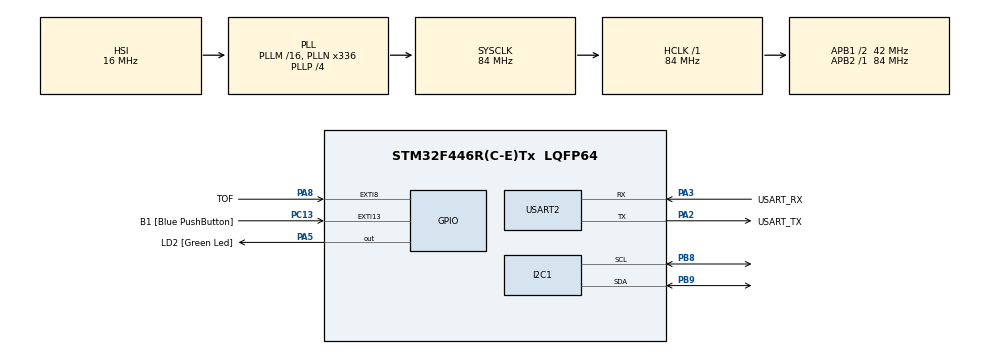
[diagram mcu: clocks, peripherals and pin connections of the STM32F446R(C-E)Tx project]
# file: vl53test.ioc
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I2C1.I2C_Mode=I2C_Fast
Mcu.Family=STM32F4
Mcu.Name=STM32F446R(C-E)Tx
Mcu.Package=LQFP64
NVIC.EXTI9_5_IRQn=true\:0\:0\:false\:false\:true\:true\:true\:true
NVIC.PriorityGroup=NVIC_PRIORITYGROUP_0
PA13.GPIO_Label=TMS
PA13.Mode=Serial_Wire
PA13.Signal=SYS_JTMS-SWDIO
PA14.GPIO_Label=TCK
PA14.Mode=Serial_Wire
PA14.Signal=SYS_JTCK-SWCLK
PA2.GPIO_Label=USART_TX
PA2.Mode=Asynchronous
PA2.Signal=USART2_TX
PA3.GPIO_Label=USART_RX
PA3.Mode=Asynchronous
PA3.Signal=USART2_RX
PA5.GPIO_Label=LD2 [Green Led]
PA5.Signal=GPIO_Output
PA8.GPIO_Label=TOF
PA8.GPIO_ModeDefaultEXTI=GPIO_MODE_IT_FALLING
PA8.Signal=GPXTI8
PB3.GPIO_Label=SWO
PB3.Signal=SYS_JTDO-SWO
PB8.Mode=I2C
PB8.Signal=I2C1_SCL
PB9.Mode=I2C
PB9.Signal=I2C1_SDA
PC13.GPIO_Label=B1 [Blue PushButton]
PC13.GPIO_ModeDefaultEXTI=GPIO_MODE_IT_FALLING
PC13.Signal=GPXTI13
PC14-OSC32_IN.Mode=LSE-External-Oscillator
PC14-OSC32_IN.Signal=RCC_OSC32_IN
PC15-OSC32_OUT.Mode=LSE-External-Oscillator
PC15-OSC32_OUT.Signal=RCC_OSC32_OUT
PH0-OSC_IN.Mode=HSE-External-Oscillator
PH0-OSC_IN.Signal=RCC_OSC_IN
PH1-OSC_OUT.Mode=HSE-External-Oscillator
PH1-OSC_OUT.Signal=RCC_OSC_OUT
ProjectManager.HeapSize=0x200
ProjectManager.StackSize=0x400
ProjectManager.TargetToolchain=STM32CubeIDE
RCC.48MHZClocksFreq_Value=84000000
RCC.AHBFreq_Value=84000000
RCC.APB1CLKDivider=RCC_HCLK_DIV2
RCC.APB1Freq_Value=42000000
RCC.APB1TimFreq_Value=84000000
RCC.APB2Freq_Value=84000000
RCC.APB2TimFreq_Value=84000000
RCC.CortexFreq_Value=84000000
RCC.FLatency-AdvancedSettings=FLASH_LATENCY_2
RCC.HCLKFreq_Value=84000000
RCC.HSE_VALUE=8000000
RCC.HSI_VALUE=16000000
RCC.PLLN=336
RCC.PLLP=RCC_PLLP_DIV4
RCC.SYSCLKFreq_VALUE=84000000
RCC.SYSCLKSource=RCC_SYSCLKSOURCE_PLLCLK
RCC.USBFreq_Value=168000000
RCC.VCOOutputFreq_Value=336000000
USART2.VirtualMode=VM_ASYNC
board=NUCLEO-F446RE

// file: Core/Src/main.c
/* USER CODE BEGIN Header */
/**
  ******************************************************************************
  * @file           : main.c
  * @brief          : Main program body
  ******************************************************************************
  * @attention
  *
  * Copyright (c) 2025 STMicroelectronics.
  * All rights reserved.
  *
  * This software is licensed under terms that can be found in the LICENSE file
  * in the root directory of this software component.
  * If no LICENSE file comes with this software, it is provided AS-IS.
  *
  ******************************************************************************
  */
/* USER CODE END Header */
#include "main.h"

/* USER CODE BEGIN Includes */
#include "vl53l0x_api.h"
#include<stdio.h>
/* USER CODE END Includes */

I2C_HandleTypeDef hi2c1;

UART_HandleTypeDef huart2;

/* USER CODE BEGIN PV */
uint8_t Message[64];
uint8_t MessageLen;
VL53L0X_RangingMeasurementData_t RangingData;
VL53L0X_Dev_t  vl53l0x_c; // center module
VL53L0X_DEV    Dev = &vl53l0x_c;
uint8_t TofDataRead = 0;
/* USER CODE END PV */

void SystemClock_Config(void);
static void MX_GPIO_Init(void);
static void MX_USART2_UART_Init(void);
static void MX_I2C1_Init(void);

/* USER CODE BEGIN 0 */
int __io_putchar(int ch)

	{

	    HAL_UART_Transmit(&huart2, (uint8_t*)&ch, 1, HAL_MAX_DELAY);

	    return 1;

	}
void HAL_GPIO_EXTI_Callback(uint16_t GPIO_Pin)
     {
     	if(GPIO_Pin == TOF_Pin)
     	{
     		VL53L0X_GetRangingMeasurementData(Dev, &RangingData);
     		VL53L0X_ClearInterruptMask(Dev, VL53L0X_REG_SYSTEM_INTERRUPT_GPIO_NEW_SAMPLE_READY);
     		TofDataRead = 1;
     	}
     }
/* USER CODE END 0 */

int main(void)
{

  /* USER CODE BEGIN 1 */
    uint32_t refSpadCount;
    uint8_t isApertureSpads;
    uint8_t VhvSettings;
    uint8_t PhaseCal;

  /* USER CODE END 1 */

  /* MCU Configuration--------------------------------------------------------*/

  /* Reset of all peripherals, Initializes the Flash interface and the Systick. */
  HAL_Init();

  /* Configure the system clock */
  SystemClock_Config();

  /* Initialize all configured peripherals */
  MX_GPIO_Init();
  MX_USART2_UART_Init();
  MX_I2C1_Init();
  /* USER CODE BEGIN 2 */
  MessageLen = sprintf((char*)Message, "msalamon.pl VL53L0X test\n\r");
  HAL_UART_Transmit(&huart2, Message, MessageLen, 100);

  Dev->I2cHandle = &hi2c1;
  Dev->I2cDevAddr = 0x52;

  //HAL_GPIO_WritePin(TOF_XSHUT_GPIO_Port, TOF_XSHUT_Pin, GPIO_PIN_RESET); // Disable XSHUT
  HAL_Delay(20);
 // HAL_GPIO_WritePin(TOF_XSHUT_GPIO_Port, TOF_XSHUT_Pin, GPIO_PIN_SET); // Enable XSHUT
  HAL_Delay(20);

  //
  // VL53L0X init for Single Measurement
  //
  	HAL_NVIC_DisableIRQ(EXTI9_5_IRQn);

    VL53L0X_WaitDeviceBooted( Dev );
    VL53L0X_DataInit( Dev );
    VL53L0X_StaticInit( Dev );
    VL53L0X_PerformRefCalibration(Dev, &VhvSettings, &PhaseCal);
    VL53L0X_PerformRefSpadManagement(Dev, &refSpadCount, &isApertureSpads);
    VL53L0X_SetDeviceMode(Dev, VL53L0X_DEVICEMODE_CONTINUOUS_RANGING);
    VL53L0X_StartMeasurement(Dev);

    HAL_NVIC_EnableIRQ(EXTI9_5_IRQn);
  /* USER CODE END 2 */

  /* Infinite loop */
  /* USER CODE BEGIN WHILE */

    HAL_NVIC_EnableIRQ(EXTI9_5_IRQn);
  while (1)
  {
	  if(TofDataRead == 1)
	  	  {
	  		MessageLen = sprintf((char*)Message, "Measured distance: %i\n\r", RangingData.RangeMilliMeter);
	  		HAL_UART_Transmit(&huart2, Message, MessageLen, 100);
	  		TofDataRead = 0;
	  	  }
    /* USER CODE END WHILE */

  }
}

void SystemClock_Config(void)
{
  RCC_OscInitTypeDef RCC_OscInitStruct = {0};
  RCC_ClkInitTypeDef RCC_ClkInitStruct = {0};

  /** Configure the main internal regulator output voltage
  */
  __HAL_RCC_PWR_CLK_ENABLE();
  __HAL_PWR_VOLTAGESCALING_CONFIG(PWR_REGULATOR_VOLTAGE_SCALE3);

  /** Initializes the RCC Oscillators according to the specified parameters
  * in the RCC_OscInitTypeDef structure.
  */
  RCC_OscInitStruct.OscillatorType = RCC_OSCILLATORTYPE_HSI;
  RCC_OscInitStruct.HSIState = RCC_HSI_ON;
  RCC_OscInitStruct.HSICalibrationValue = RCC_HSICALIBRATION_DEFAULT;
  RCC_OscInitStruct.PLL.PLLState = RCC_PLL_ON;
  RCC_OscInitStruct.PLL.PLLSource = RCC_PLLSOURCE_HSI;
  RCC_OscInitStruct.PLL.PLLM = 16;
  RCC_OscInitStruct.PLL.PLLN = 336;
  RCC_OscInitStruct.PLL.PLLP = RCC_PLLP_DIV4;
  RCC_OscInitStruct.PLL.PLLQ = 2;
  RCC_OscInitStruct.PLL.PLLR = 2;
  if (HAL_RCC_OscConfig(&RCC_OscInitStruct) != HAL_OK)
  {
    Error_Handler();
  }

  /** Initializes the CPU, AHB and APB buses clocks
  */
  RCC_ClkInitStruct.ClockType = RCC_CLOCKTYPE_HCLK|RCC_CLOCKTYPE_SYSCLK
                              |RCC_CLOCKTYPE_PCLK1|RCC_CLOCKTYPE_PCLK2;
  RCC_ClkInitStruct.SYSCLKSource = RCC_SYSCLKSOURCE_PLLCLK;
  RCC_ClkInitStruct.AHBCLKDivider = RCC_SYSCLK_DIV1;
  RCC_ClkInitStruct.APB1CLKDivider = RCC_HCLK_DIV2;
  RCC_ClkInitStruct.APB2CLKDivider = RCC_HCLK_DIV1;

  if (HAL_RCC_ClockConfig(&RCC_ClkInitStruct, FLASH_LATENCY_2) != HAL_OK)
  {
    Error_Handler();
  }
}

static void MX_I2C1_Init(void)
{

  hi2c1.Instance = I2C1;
  hi2c1.Init.ClockSpeed = 400000;
  hi2c1.Init.DutyCycle = I2C_DUTYCYCLE_2;
  hi2c1.Init.OwnAddress1 = 0;
  hi2c1.Init.AddressingMode = I2C_ADDRESSINGMODE_7BIT;
  hi2c1.Init.DualAddressMode = I2C_DUALADDRESS_DISABLE;
  hi2c1.Init.OwnAddress2 = 0;
  hi2c1.Init.GeneralCallMode = I2C_GENERALCALL_DISABLE;
  hi2c1.Init.NoStretchMode = I2C_NOSTRETCH_DISABLE;
  if (HAL_I2C_Init(&hi2c1) != HAL_OK)
  {
    Error_Handler();
  }

}

static void MX_USART2_UART_Init(void)
{

  huart2.Instance = USART2;
  huart2.Init.BaudRate = 115200;
  huart2.Init.WordLength = UART_WORDLENGTH_8B;
  huart2.Init.StopBits = UART_STOPBITS_1;
  huart2.Init.Parity = UART_PARITY_NONE;
  huart2.Init.Mode = UART_MODE_TX_RX;
  huart2.Init.HwFlowCtl = UART_HWCONTROL_NONE;
  huart2.Init.OverSampling = UART_OVERSAMPLING_16;
  if (HAL_UART_Init(&huart2) != HAL_OK)
  {
    Error_Handler();
  }

}

static void MX_GPIO_Init(void)
{
  GPIO_InitTypeDef GPIO_InitStruct = {0};

  /* GPIO Ports Clock Enable */
  __HAL_RCC_GPIOC_CLK_ENABLE();
  __HAL_RCC_GPIOH_CLK_ENABLE();
  __HAL_RCC_GPIOA_CLK_ENABLE();
  __HAL_RCC_GPIOB_CLK_ENABLE();

  /*Configure GPIO pin Output Level */
  HAL_GPIO_WritePin(LD2_GPIO_Port, LD2_Pin, GPIO_PIN_RESET);

  /*Configure GPIO pin : B1_Pin */
  GPIO_InitStruct.Pin = B1_Pin;
  GPIO_InitStruct.Mode = GPIO_MODE_IT_FALLING;
  GPIO_InitStruct.Pull = GPIO_NOPULL;
  HAL_GPIO_Init(B1_GPIO_Port, &GPIO_InitStruct);

  /*Configure GPIO pin : LD2_Pin */
  GPIO_InitStruct.Pin = LD2_Pin;
  GPIO_InitStruct.Mode = GPIO_MODE_OUTPUT_PP;
  GPIO_InitStruct.Pull = GPIO_NOPULL;
  GPIO_InitStruct.Speed = GPIO_SPEED_FREQ_LOW;
  HAL_GPIO_Init(LD2_GPIO_Port, &GPIO_InitStruct);

  /*Configure GPIO pin : TOF_Pin */
  GPIO_InitStruct.Pin = TOF_Pin;
  GPIO_InitStruct.Mode = GPIO_MODE_IT_FALLING;
  GPIO_InitStruct.Pull = GPIO_NOPULL;
  HAL_GPIO_Init(TOF_GPIO_Port, &GPIO_InitStruct);

  /* EXTI interrupt init*/
  HAL_NVIC_SetPriority(EXTI9_5_IRQn, 0, 0);
  HAL_NVIC_EnableIRQ(EXTI9_5_IRQn);

}

void Error_Handler(void)
{
  __disable_irq();
  while (1)
  {
  }
}
